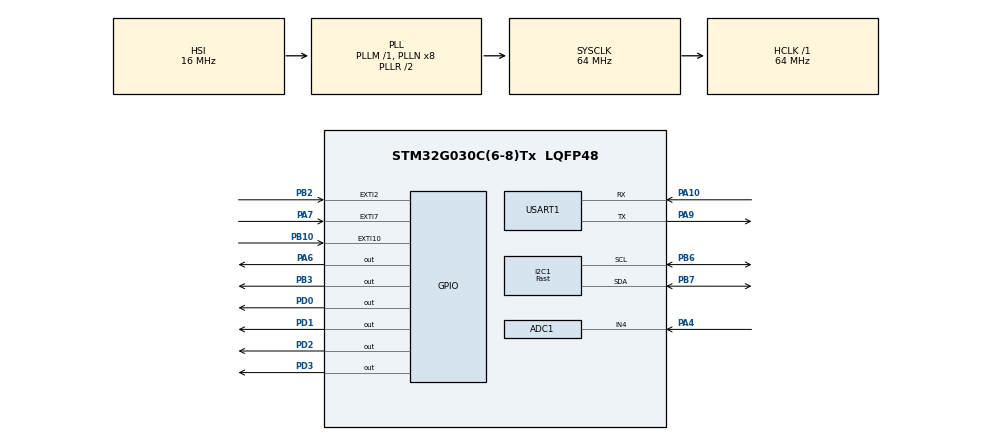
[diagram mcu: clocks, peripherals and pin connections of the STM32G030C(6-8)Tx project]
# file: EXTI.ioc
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ADC1.Channel-0\#ChannelRegularConversion=ADC_CHANNEL_4
ADC1.ContinuousConvMode=ENABLE
ADC1.NbrOfConversionFlag=1
ADC1.Rank-0\#ChannelRegularConversion=1
ADC1.SamplingTime-0\#ChannelRegularConversion=ADC_SAMPLINGTIME_COMMON_1
ADC1.SelectedChannel=ADC_CHANNEL_4
ADC1.master=1
I2C1.I2C_Speed_Mode=I2C_Fast
I2C1.Timing=0x00602173
Mcu.Family=STM32G0
Mcu.Name=STM32G030C(6-8)Tx
Mcu.Package=LQFP48
NVIC.EXTI2_3_IRQn=true\:0\:0\:false\:false\:true\:true\:true\:true
NVIC.EXTI4_15_IRQn=true\:0\:0\:false\:false\:true\:true\:true\:true
PA10.Mode=Asynchronous
PA10.Signal=USART1_RX
PA13.Mode=Serial_Wire
PA13.Signal=SYS_SWDIO
PA14-BOOT0.Mode=Serial_Wire
PA14-BOOT0.Signal=SYS_SWCLK
PA4.Mode=IN4
PA4.Signal=ADC1_IN4
PA6.Signal=GPIO_Output
PA7.GPIO_ModeDefaultEXTI=GPIO_MODE_IT_RISING_FALLING
PA7.GPIO_PuPd=GPIO_PULLUP
PA7.Signal=GPXTI7
PA9.Mode=Asynchronous
PA9.Signal=USART1_TX
PB10.GPIO_ModeDefaultEXTI=GPIO_MODE_IT_RISING_FALLING
PB10.GPIO_PuPd=GPIO_PULLUP
PB10.Signal=GPXTI10
PB2.GPIO_ModeDefaultEXTI=GPIO_MODE_IT_RISING_FALLING
PB2.GPIO_PuPd=GPIO_PULLUP
PB2.Signal=GPXTI2
PB3.Signal=GPIO_Output
PB6.Mode=I2C
PB6.Signal=I2C1_SCL
PB7.Mode=I2C
PB7.Signal=I2C1_SDA
PD0.Signal=GPIO_Output
PD1.Signal=GPIO_Output
PD2.Signal=GPIO_Output
PD3.Signal=GPIO_Output
PF0-OSC_IN\ (PF0).Mode=HSE-External-Oscillator
PF0-OSC_IN\ (PF0).Signal=RCC_OSC_IN
PF1-OSC_OUT\ (PF1).Mode=HSE-External-Oscillator
PF1-OSC_OUT\ (PF1).Signal=RCC_OSC_OUT
ProjectManager.HeapSize=0x200
ProjectManager.StackSize=0x400
ProjectManager.TargetToolchain=STM32CubeIDE
RCC.ADCFreq_Value=64000000
RCC.AHBFreq_Value=64000000
RCC.CortexFreq_Value=64000000
RCC.EXTERNAL_CLOCK_VALUE=12288000
RCC.HCLKFreq_Value=64000000
RCC.HSE_VALUE=8000000
RCC.HSI_VALUE=16000000
RCC.LSE_VALUE=32768
RCC.SYSCLKFreq_VALUE=64000000
RCC.SYSCLKSource=RCC_SYSCLKSOURCE_PLLCLK
RCC.VCOOutputFreq_Value=128000000
USART1.VirtualMode-Asynchronous=VM_ASYNC
board=custom

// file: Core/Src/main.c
/* USER CODE BEGIN Header */
/**
 ******************************************************************************
 * @file           : main.c
 * @brief          : Main program body
 ******************************************************************************
 * @attention
 *
 * Copyright (c) 2024 STMicroelectronics.
 * All rights reserved.
 *
 * This software is licensed under terms that can be found in the LICENSE file
 * in the root directory of this software component.
 * If no LICENSE file comes with this software, it is provided AS-IS.
 *
 ******************************************************************************
 */
/* USER CODE END Header */
#include "main.h"

/* USER CODE BEGIN Includes */
#include "ssd1306.h"
#include "stdio.h"
#include "string.h"
#include "math.h"
#include "ssd1306_tests.h"

double termistor(uint32_t analogValue)
{
	double temperature;
	uint32_t adcval = 4096-analogValue;
	temperature = log((adcval*10000)/(4095-adcval));
	temperature = 1 / (0.001129148 + (0.000234125 + (0.0000000876741 * temperature * temperature)) * temperature);
	temperature = temperature - 273.15;
	return temperature;

}
/* USER CODE END Includes */

/* USER CODE BEGIN PTD */
double temp1;

/* USER CODE END PTD */

/* USER CODE BEGIN PM */
#define 	SENSOR_BUS 	hi2c1
#define   	BOOT_TIME   20 //ms
/* USER CODE END PM */

ADC_HandleTypeDef hadc1;

I2C_HandleTypeDef hi2c1;

UART_HandleTypeDef huart1;

void SystemClock_Config(void);
static void MX_GPIO_Init(void);
static void MX_I2C1_Init(void);
static void MX_USART1_UART_Init(void);
static void MX_ADC1_Init(void);

/* USER CODE BEGIN 0 */
char buffer[10];
uint16_t sayi = 0;
uint16_t sayi2 = 0;
char data[80];
uint8_t ikilivalu[3];
char ale = 1;
uint8_t school_data[10] ="123456789";
uint8_t Rx_data[4];

void port_atama(uint8_t number) {
	HAL_GPIO_WritePin(GPIOD, GPIO_PIN_0, ((number >> 0) & 0x01));
	HAL_GPIO_WritePin(GPIOD, GPIO_PIN_1, ((number >> 1) & 0x01));
	HAL_GPIO_WritePin(GPIOD, GPIO_PIN_2, ((number >> 2) & 0x01));
	HAL_GPIO_WritePin(GPIOD, GPIO_PIN_3, ((number >> 3) & 0x01));
}

void HAL_GPIO_EXTI_Rising_Callback(uint16_t GPIO_Pin) {
	if (GPIO_Pin == GPIO_PIN_7) {
		sayi2++;
	}

	if (GPIO_Pin == GPIO_PIN_2) {
		sayi++;
		port_atama(sayi);
	}

	if (GPIO_Pin == GPIO_PIN_10)
	{
		if (ale == 0) {

			ale = 1;
			for (uint8_t valuu = 49; valuu < 58; valuu++)
			{
				school_data[valuu-49] = (char)valuu;
			}
		}
		else if (ale == 1)
		{
			for (uint8_t valuu = 57; valuu > 48; valuu--)
			{
				school_data[57-valuu] = (char)valuu;
			}
			ale = 0;
		}
	}
}

/* USER CODE END 0 */

int main(void)
{

  /* MCU Configuration--------------------------------------------------------*/

  /* Reset of all peripherals, Initializes the Flash interface and the Systick. */
  HAL_Init();

  /* Configure the system clock */
  SystemClock_Config();

  /* Initialize all configured peripherals */
  MX_GPIO_Init();
  MX_I2C1_Init();
  MX_USART1_UART_Init();
  MX_ADC1_Init();
  /* USER CODE BEGIN 2 */
	ssd1306_Init();
	ssd1306_Fill(Black);
	HAL_Delay(200);
	ssd1306_SetCursor(5, 2);
	ssd1306_WriteString("Wi-Fi", Font_7x10, White);
	ssd1306_UpdateScreen();
	  volatile uint32_t adcValues[10];
	  HAL_ADC_Start(&hadc1);

  /* USER CODE END 2 */

  /* Infinite loop */
	while (1) {

    /* USER CODE BEGIN 3 */
		school_data[9]=0x0a;

		if(Rx_data[0]=='A'&&Rx_data[1]=='1')
		{
			HAL_GPIO_WritePin(GPIOD, GPIO_PIN_0, SET);

		}
		if(Rx_data[0]=='A'&&Rx_data[1]=='2')
		{
			HAL_GPIO_WritePin(GPIOD, GPIO_PIN_0, RESET);

		}

		  HAL_ADC_PollForConversion(&hadc1, 50);
		  adcValues[2] = HAL_ADC_GetValue(&hadc1);
		  temp1 = (termistor(adcValues[2]) - 10);
		  snprintf(buffer, 10, "%f", temp1);
			ssd1306_SetCursor(5, 2);
			ssd1306_WriteString("SICAKLIK", Font_11x18, White);
			ssd1306_SetCursor(14, 27);
			ssd1306_WriteString(data, Font_11x18, White);
			ssd1306_SetCursor(45, 46);
			ssd1306_UpdateScreen();

			ikilivalu[0]=buffer[0];ikilivalu[1]=buffer[1];ikilivalu[2]=0x0A;
			sprintf(data, "Giden %c%c", buffer[0],buffer[1]);
			HAL_UART_Transmit(&huart1, ikilivalu, 10, 200);
			HAL_Delay(200);

	if(temp1 > 23)
	{
	HAL_GPIO_WritePin(GPIOD, GPIO_PIN_1, 1);
	}
	else
	{
		HAL_GPIO_WritePin(GPIOD, GPIO_PIN_1, 0);
	}

	}
  /* USER CODE END 3 */
}

void SystemClock_Config(void)
{
  RCC_OscInitTypeDef RCC_OscInitStruct = {0};
  RCC_ClkInitTypeDef RCC_ClkInitStruct = {0};

  /** Configure the main internal regulator output voltage
  */
  HAL_PWREx_ControlVoltageScaling(PWR_REGULATOR_VOLTAGE_SCALE1);

  /** Initializes the RCC Oscillators according to the specified parameters
  * in the RCC_OscInitTypeDef structure.
  */
  RCC_OscInitStruct.OscillatorType = RCC_OSCILLATORTYPE_HSI;
  RCC_OscInitStruct.HSIState = RCC_HSI_ON;
  RCC_OscInitStruct.HSIDiv = RCC_HSI_DIV1;
  RCC_OscInitStruct.HSICalibrationValue = RCC_HSICALIBRATION_DEFAULT;
  RCC_OscInitStruct.PLL.PLLState = RCC_PLL_ON;
  RCC_OscInitStruct.PLL.PLLSource = RCC_PLLSOURCE_HSI;
  RCC_OscInitStruct.PLL.PLLM = RCC_PLLM_DIV1;
  RCC_OscInitStruct.PLL.PLLN = 8;
  RCC_OscInitStruct.PLL.PLLP = RCC_PLLP_DIV2;
  RCC_OscInitStruct.PLL.PLLR = RCC_PLLR_DIV2;
  if (HAL_RCC_OscConfig(&RCC_OscInitStruct) != HAL_OK)
  {
    Error_Handler();
  }

  /** Initializes the CPU, AHB and APB buses clocks
  */
  RCC_ClkInitStruct.ClockType = RCC_CLOCKTYPE_HCLK|RCC_CLOCKTYPE_SYSCLK
                              |RCC_CLOCKTYPE_PCLK1;
  RCC_ClkInitStruct.SYSCLKSource = RCC_SYSCLKSOURCE_PLLCLK;
  RCC_ClkInitStruct.AHBCLKDivider = RCC_SYSCLK_DIV1;
  RCC_ClkInitStruct.APB1CLKDivider = RCC_HCLK_DIV1;

  if (HAL_RCC_ClockConfig(&RCC_ClkInitStruct, FLASH_LATENCY_2) != HAL_OK)
  {
    Error_Handler();
  }
}

static void MX_ADC1_Init(void)
{

  ADC_ChannelConfTypeDef sConfig = {0};

  /** Configure the global features of the ADC (Clock, Resolution, Data Alignment and number of conversion)
  */
  hadc1.Instance = ADC1;
  hadc1.Init.ClockPrescaler = ADC_CLOCK_SYNC_PCLK_DIV2;
  hadc1.Init.Resolution = ADC_RESOLUTION_12B;
  hadc1.Init.DataAlign = ADC_DATAALIGN_RIGHT;
  hadc1.Init.ScanConvMode = ADC_SCAN_DISABLE;
  hadc1.Init.EOCSelection = ADC_EOC_SINGLE_CONV;
  hadc1.Init.LowPowerAutoWait = DISABLE;
  hadc1.Init.LowPowerAutoPowerOff = DISABLE;
  hadc1.Init.ContinuousConvMode = ENABLE;
  hadc1.Init.NbrOfConversion = 1;
  hadc1.Init.ExternalTrigConv = ADC_SOFTWARE_START;
  hadc1.Init.ExternalTrigConvEdge = ADC_EXTERNALTRIGCONVEDGE_NONE;
  hadc1.Init.DMAContinuousRequests = DISABLE;
  hadc1.Init.Overrun = ADC_OVR_DATA_PRESERVED;
  hadc1.Init.SamplingTimeCommon1 = ADC_SAMPLETIME_1CYCLE_5;
  hadc1.Init.SamplingTimeCommon2 = ADC_SAMPLETIME_1CYCLE_5;
  hadc1.Init.OversamplingMode = DISABLE;
  hadc1.Init.TriggerFrequencyMode = ADC_TRIGGER_FREQ_HIGH;
  if (HAL_ADC_Init(&hadc1) != HAL_OK)
  {
    Error_Handler();
  }

  /** Configure Regular Channel
  */
  sConfig.Channel = ADC_CHANNEL_4;
  sConfig.Rank = ADC_REGULAR_RANK_1;
  sConfig.SamplingTime = ADC_SAMPLINGTIME_COMMON_1;
  if (HAL_ADC_ConfigChannel(&hadc1, &sConfig) != HAL_OK)
  {
    Error_Handler();
  }

}

static void MX_I2C1_Init(void)
{

  hi2c1.Instance = I2C1;
  hi2c1.Init.Timing = 0x00602173;
  hi2c1.Init.OwnAddress1 = 0;
  hi2c1.Init.AddressingMode = I2C_ADDRESSINGMODE_7BIT;
  hi2c1.Init.DualAddressMode = I2C_DUALADDRESS_DISABLE;
  hi2c1.Init.OwnAddress2 = 0;
  hi2c1.Init.OwnAddress2Masks = I2C_OA2_NOMASK;
  hi2c1.Init.GeneralCallMode = I2C_GENERALCALL_DISABLE;
  hi2c1.Init.NoStretchMode = I2C_NOSTRETCH_DISABLE;
  if (HAL_I2C_Init(&hi2c1) != HAL_OK)
  {
    Error_Handler();
  }

  /** Configure Analogue filter
  */
  if (HAL_I2CEx_ConfigAnalogFilter(&hi2c1, I2C_ANALOGFILTER_ENABLE) != HAL_OK)
  {
    Error_Handler();
  }

  /** Configure Digital filter
  */
  if (HAL_I2CEx_ConfigDigitalFilter(&hi2c1, 0) != HAL_OK)
  {
    Error_Handler();
  }

}

static void MX_USART1_UART_Init(void)
{

  huart1.Instance = USART1;
  huart1.Init.BaudRate = 115200;
  huart1.Init.WordLength = UART_WORDLENGTH_8B;
  huart1.Init.StopBits = UART_STOPBITS_1;
  huart1.Init.Parity = UART_PARITY_NONE;
  huart1.Init.Mode = UART_MODE_TX_RX;
  huart1.Init.HwFlowCtl = UART_HWCONTROL_NONE;
  huart1.Init.OverSampling = UART_OVERSAMPLING_16;
  huart1.Init.OneBitSampling = UART_ONE_BIT_SAMPLE_DISABLE;
  huart1.Init.ClockPrescaler = UART_PRESCALER_DIV1;
  huart1.AdvancedInit.AdvFeatureInit = UART_ADVFEATURE_NO_INIT;
  if (HAL_UART_Init(&huart1) != HAL_OK)
  {
    Error_Handler();
  }
  if (HAL_UARTEx_SetTxFifoThreshold(&huart1, UART_TXFIFO_THRESHOLD_1_8) != HAL_OK)
  {
    Error_Handler();
  }
  if (HAL_UARTEx_SetRxFifoThreshold(&huart1, UART_RXFIFO_THRESHOLD_1_8) != HAL_OK)
  {
    Error_Handler();
  }
  if (HAL_UARTEx_DisableFifoMode(&huart1) != HAL_OK)
  {
    Error_Handler();
  }

}

static void MX_GPIO_Init(void)
{
  GPIO_InitTypeDef GPIO_InitStruct = {0};

  /* GPIO Ports Clock Enable */
  __HAL_RCC_GPIOF_CLK_ENABLE();
  __HAL_RCC_GPIOA_CLK_ENABLE();
  __HAL_RCC_GPIOB_CLK_ENABLE();
  __HAL_RCC_GPIOD_CLK_ENABLE();

  /*Configure GPIO pin Output Level */
  HAL_GPIO_WritePin(GPIOA, GPIO_PIN_6, GPIO_PIN_RESET);

  /*Configure GPIO pin Output Level */
  HAL_GPIO_WritePin(GPIOD, GPIO_PIN_0|GPIO_PIN_1|GPIO_PIN_2|GPIO_PIN_3, GPIO_PIN_RESET);

  /*Configure GPIO pin Output Level */
  HAL_GPIO_WritePin(GPIOB, GPIO_PIN_3, GPIO_PIN_RESET);

  /*Configure GPIO pin : PA6 */
  GPIO_InitStruct.Pin = GPIO_PIN_6;
  GPIO_InitStruct.Mode = GPIO_MODE_OUTPUT_PP;
  GPIO_InitStruct.Pull = GPIO_NOPULL;
  GPIO_InitStruct.Speed = GPIO_SPEED_FREQ_LOW;
  HAL_GPIO_Init(GPIOA, &GPIO_InitStruct);

  /*Configure GPIO pin : PA7 */
  GPIO_InitStruct.Pin = GPIO_PIN_7;
  GPIO_InitStruct.Mode = GPIO_MODE_IT_RISING_FALLING;
  GPIO_InitStruct.Pull = GPIO_PULLUP;
  HAL_GPIO_Init(GPIOA, &GPIO_InitStruct);

  /*Configure GPIO pins : PB2 PB10 */
  GPIO_InitStruct.Pin = GPIO_PIN_2|GPIO_PIN_10;
  GPIO_InitStruct.Mode = GPIO_MODE_IT_RISING_FALLING;
  GPIO_InitStruct.Pull = GPIO_PULLUP;
  HAL_GPIO_Init(GPIOB, &GPIO_InitStruct);

  /*Configure GPIO pins : PD0 PD1 PD2 PD3 */
  GPIO_InitStruct.Pin = GPIO_PIN_0|GPIO_PIN_1|GPIO_PIN_2|GPIO_PIN_3;
  GPIO_InitStruct.Mode = GPIO_MODE_OUTPUT_PP;
  GPIO_InitStruct.Pull = GPIO_NOPULL;
  GPIO_InitStruct.Speed = GPIO_SPEED_FREQ_LOW;
  HAL_GPIO_Init(GPIOD, &GPIO_InitStruct);

  /*Configure GPIO pin : PB3 */
  GPIO_InitStruct.Pin = GPIO_PIN_3;
  GPIO_InitStruct.Mode = GPIO_MODE_OUTPUT_PP;
  GPIO_InitStruct.Pull = GPIO_NOPULL;
  GPIO_InitStruct.Speed = GPIO_SPEED_FREQ_LOW;
  HAL_GPIO_Init(GPIOB, &GPIO_InitStruct);

  /* EXTI interrupt init*/
  HAL_NVIC_SetPriority(EXTI2_3_IRQn, 0, 0);
  HAL_NVIC_EnableIRQ(EXTI2_3_IRQn);

  HAL_NVIC_SetPriority(EXTI4_15_IRQn, 0, 0);
  HAL_NVIC_EnableIRQ(EXTI4_15_IRQn);

}

void Error_Handler(void)
{
	__disable_irq();
	while (1) {
	}
}
